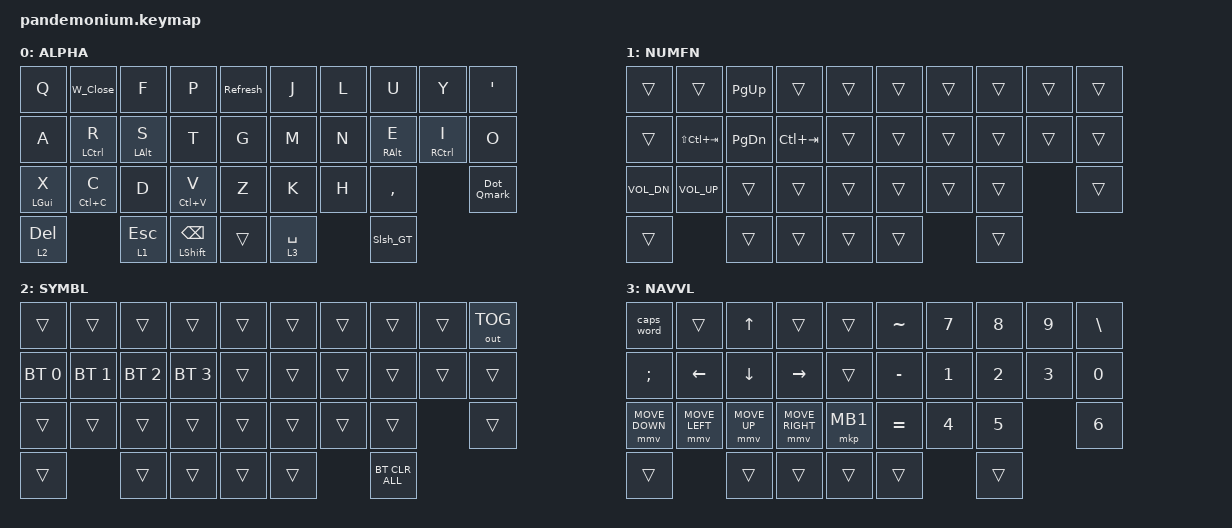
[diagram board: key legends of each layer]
/*
 * Copyright (c) 2020 The ZMK Contributors
 *
 * SPDX-License-Identifier: MIT
 */

#include <behaviors.dtsi>
#include <dt-bindings/zmk/bt.h>
#include <dt-bindings/zmk/keys.h>
#include <dt-bindings/zmk/outputs.h>
#include <dt-bindings/zmk/pointing.h>

#define ALPHA 0
#define NUMFN 1
#define SYMBL 2
#define NAVVL 3

/ {
    behaviors {
        hm: homerow_mods {
            compatible = "zmk,behavior-hold-tap";
            label = "homerow mods";
            #binding-cells = <2>;
            tapping-term-ms = <225>;
            flavor = "tap-preferred";
            bindings = <&kp>, <&kp>;
        };

        W_Close: W_Close {
            compatible = "zmk,behavior-tap-dance";
            label = "W_CLOSE";
            #binding-cells = <0>;
            bindings = <&kp W>, <&kp LC(W)>;
        };

        Dot_Qmark: Dot_Qmark {
            compatible = "zmk,behavior-mod-morph";
            label = "DOT_QMARK";
            bindings = <&kp PERIOD>, <&kp QMARK>;

            #binding-cells = <0>;
            mods = <(MOD_LSFT)>;
        };

        Slsh_GT: Slsh_GT {
            compatible = "zmk,behavior-mod-morph";
            label = "SLSH_GT";
            bindings = <&kp SLASH>, <&kp GT>;

            #binding-cells = <0>;
            mods = <(MOD_LSFT)>;
        };

        Refresh: Refresh {
            compatible = "zmk,behavior-mod-morph";
            label = "REFRESH";
            bindings = <&kp B>, <&kp LC(R)>;

            #binding-cells = <0>;
            mods = <(MOD_LCTL)>;
        };

        Soft_Off: Soft_Off {
            compatible = "zmk,behavior-soft-off";
            label = "SOFT_OFF";
            #binding-cells = <0>;
            hold-time-ms = <3000>;
        };
    };
};

/ {
};

/ {
    combos {
        compatible = "zmk,combos";

        Enter {
            bindings = <&kp RET>;
            key-positions = <16 17 18>;
        };

        Tab {
            bindings = <&kp TAB>;
            key-positions = <11 12 13>;
        };

        Mute {
            bindings = <&kp C_MUTE>;
            key-positions = <20 21>;
            layers = <1>;
        };

        Lpare {
            bindings = <&kp LEFT_PARENTHESIS>;
            key-positions = <1 2>;
        };

        Rpare {
            bindings = <&kp RIGHT_PARENTHESIS>;
            key-positions = <8 7>;
        };

        Reset {
            bindings = <&sys_reset>;
            key-positions = <0 29 28 9>;
        };
    };

    keymap {
        compatible = "zmk,keymap";

        ALPHA {
            bindings = <
&kp Q           &W_Close     &kp F           &kp P            &Refresh  &kp J        &kp L  &kp U            &kp Y        &kp APOS
&kp A           &hm LCTRL R  &hm LEFT_ALT S  &kp T            &kp G     &kp M        &kp N  &hm RIGHT_ALT E  &hm RCTRL I  &kp O
&hm LEFT_GUI X  &hm LC(C) C  &kp D           &hm LC(V) V      &kp Z     &kp K        &kp H  &kp COMMA                     &Dot_Qmark
&lt 2 DEL                    &lt 1 ESCAPE    &mt LSHIFT BSPC  &trans    &lt 3 SPACE         &Slsh_GT
            >;
        };

        NUMFN {
            bindings = <
&trans        &trans           &kp PG_UP      &trans       &trans  &trans  &trans  &trans  &trans  &trans
&trans        &kp LS(LC(TAB))  &kp PAGE_DOWN  &kp LC(TAB)  &trans  &trans  &trans  &trans  &trans  &trans
&kp C_VOL_DN  &kp C_VOL_UP     &trans         &trans       &trans  &trans  &trans  &trans          &trans
&trans                         &trans         &trans       &trans  &trans          &trans
            >;
        };

        SYMBL {
            bindings = <
&trans        &trans        &trans        &trans        &trans  &trans  &trans  &trans          &trans  &out OUT_TOG
&bt BT_SEL 0  &bt BT_SEL 1  &bt BT_SEL 2  &bt BT_SEL 3  &trans  &trans  &trans  &trans          &trans  &trans
&trans        &trans        &trans        &trans        &trans  &trans  &trans  &trans                  &trans
&trans                      &trans        &trans        &trans  &trans          &bt BT_CLR_ALL
            >;
        };

        NAVVL {
            bindings = <
&caps_word      &trans          &kp UP        &trans           &trans    &kp TILDE  &kp N7  &kp N8  &kp N9  &kp BSLH
&kp SEMI        &kp LEFT        &kp DOWN      &kp RIGHT        &trans    &kp MINUS  &kp N1  &kp N2  &kp N3  &kp N0
&mmv MOVE_DOWN  &mmv MOVE_LEFT  &mmv MOVE_UP  &mmv MOVE_RIGHT  &mkp MB1  &kp EQUAL  &kp N4  &kp N5          &kp N6
&trans                          &trans        &trans           &trans    &trans             &trans
            >;
        };
    };
};
